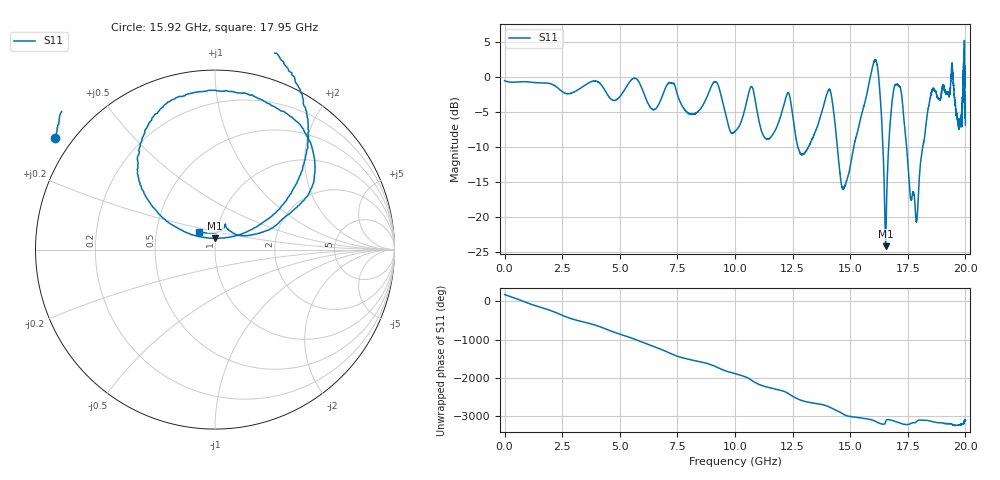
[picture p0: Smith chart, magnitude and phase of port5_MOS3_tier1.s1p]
! Created with skrf 1.8.0 (http://scikit-rf.org).
# GHz S RI R 50.0
!freq ReS11 ImS11
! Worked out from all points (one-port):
!   10001 points, 1 MHz to 20 GHz, reference 50 ohm
!   lowest |S11| = -24.1 dB at 16.53 GHz (marker M1), VSWR 1.13, Z = 49.7 + j6.22 ohm
!   |S11| at or under -10 dB: 12.73 GHz to 13.18 GHz (443.3 MHz wide, 3.42 % of centre); 14.44 GHz to 15.15 GHz (702.9 MHz wide, 4.75 % of centre); 17.45 GHz to 18.15 GHz (696.5 MHz wide, 3.91 % of centre) (the widest 3 of 4)
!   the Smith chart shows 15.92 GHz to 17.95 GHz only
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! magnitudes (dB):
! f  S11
! 1 MHz  -0.5
! 2.501 GHz  -2.1
! 5.001 GHz  -2.8
! 5.633 GHz  -0.2
! 7.501 GHz  -2.5
! 8.217 GHz  -5.3
! 9.175 GHz  -0.7
! 10 GHz  -7.8
! 10.7 GHz  -1.4
! 11.34 GHz  -8.8
! 12.27 GHz  -2.3
! 12.5 GHz  -5.3
! 12.98 GHz  -11.0
! 14.1 GHz  -1.7
! 14.64 GHz  -15.6
! 15 GHz  -12.7
! 16.1 GHz  2.4
! 16.29 GHz  -2.2
! 16.53 GHz  -24.1
! 16.78 GHz  -4.8
! 16.97 GHz  -1.1
! 17.22 GHz  -2.2
! 17.5 GHz  -12.1
! 17.87 GHz  -20.7
! 18.55 GHz  -1.8
! 19.43 GHz  1.5
! 19.73 GHz  -6.7
! 20 GHz  -6.8
